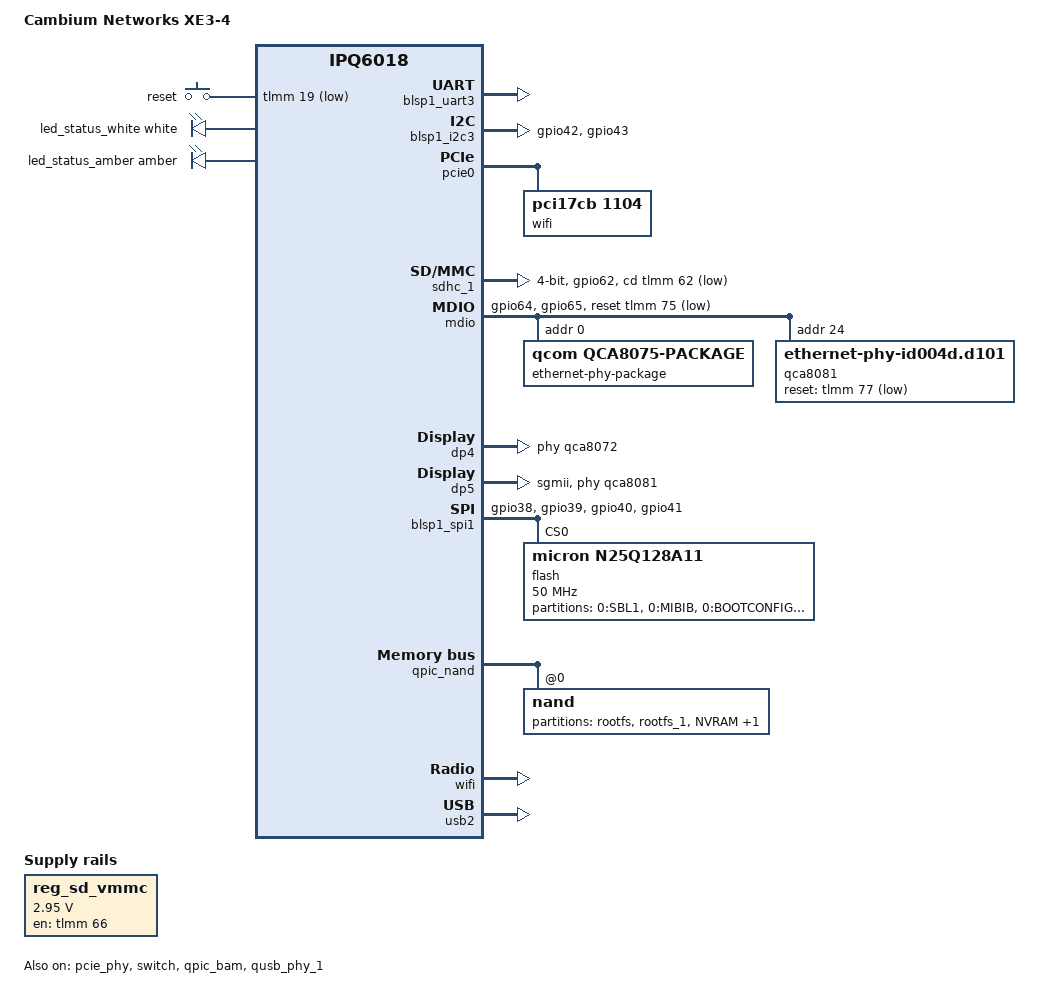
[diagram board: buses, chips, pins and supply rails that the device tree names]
// SPDX-License-Identifier: (GPL-2.0+)

/dts-v1/;

#include "ipq6018.dtsi"
#include "ipq6018-fixed-smps.dtsi"
#include "ipq6018-ess.dtsi"
#include <dt-bindings/gpio/gpio.h>
#include <dt-bindings/input/input.h>
#include <dt-bindings/leds/common.h>

/ {
	/* Qualcomm Technologies, Inc. IPQ6018/AP-CP01-C3 */
	model = "Cambium Networks XE3-4";
	compatible = "cambiumnetworks,xe3-4", "qcom,ipq6018-cp01", "qcom,ipq6018";

	aliases {
		serial0 = &blsp1_uart3;
		sdhc2 = &sdhc_1;
		ethernet0 = &dp5;
		ethernet1 = &dp4;
		label-mac-device = &dp5;

		led-boot = &led_status_amber;
		led-failsafe = &led_status_amber;
		led-running = &led_status_white;
		led-upgrade = &led_status_amber;
	};

	chosen {
		stdout-path = "serial0:115200n8";
		bootargs-append = " root=/dev/ubiblock0_1";
	};

	keys {
		compatible = "gpio-keys";

		reset {
			label = "reset";
			gpios = <&tlmm 19 GPIO_ACTIVE_LOW>;
			linux,code = <KEY_RESTART>;
		};
	};

	leds {
		compatible = "gpio-leds";
		pinctrl-0 = <&led_pins>;
		pinctrl-names = "default";

		led_status_white: status-white {
			color = <LED_COLOR_ID_WHITE>;
			function = LED_FUNCTION_STATUS;
			gpio = <&tlmm 56 GPIO_ACTIVE_LOW>;
		};

		led_status_amber: status-amber {
			color = <LED_COLOR_ID_AMBER>;
			function = LED_FUNCTION_STATUS;
			gpio = <&tlmm 35 GPIO_ACTIVE_LOW>;
		};
	};

	reg_sd_vmmc: regulator-sdcard-vmmc {
		compatible = "regulator-fixed";
		regulator-name = "sdcard-vmmc";
		regulator-min-microvolt = <2950000>;
		regulator-max-microvolt = <2950000>;

		startup-delay-us = <200>;

		gpio = <&tlmm 66 GPIO_ACTIVE_HIGH>;
		enable-active-high;

		pinctrl-names = "default";
		pinctrl-0 = <&sd_vmmc_en_default>;
	};
};

&blsp1_uart3 {
	pinctrl-0 = <&serial_3_pins>;
	pinctrl-names = "default";
	status = "okay";
};

&blsp1_i2c3 {
	pinctrl-0 = <&i2c_1_pins>;
	pinctrl-names = "default";
	status = "okay";
};

&tlmm {
	/* TZ has exclusive control over GPIO20 */
	gpio-reserved-ranges = <20 1>;

	mdio_pins: mdio-pins {
		mdc {
			pins = "gpio64";
			function = "mdc";
			drive-strength = <8>;
			bias-pull-up;
		};

		mdio {
			pins = "gpio65";
			function = "mdio";
			drive-strength = <8>;
			bias-pull-up;
		};
	};

	i2c_1_pins: i2c-1-state {
		pins = "gpio42", "gpio43";
		function = "blsp2_i2c";
		drive-strength = <8>;
	};

	spi_0_pins: spi-0-state {
		pins = "gpio38", "gpio39", "gpio40", "gpio41";
		function = "blsp0_spi";
		drive-strength = <8>;
		bias-pull-down;
	};

	led_pins: led_pins {
		leds {
			pins = "gpio35", "gpio37", "gpio50";
			function = "gpio";
			drive-strength = <8>;
			bias-pull-down;
		};
	};

	sd_vmmc_en_default: sd-vmmc-en-default-state {
		pins = "gpio66";
		function = "gpio";
		drive-strength = <8>;
		bias-pull-down;
	};

	sd_pins: sd-state {
		pins = "gpio62";
		function = "gpio";
		drive-strength = <8>;
		bias-pull-up;
	};
};

&pcie_phy {
	status = "okay";
};

&pcie0 {
	status = "okay";
	perst-gpio = <&tlmm 60 GPIO_ACTIVE_LOW>;

	bridge@0,0 {
		reg = <0x00000000 0 0 0 0>;
		#address-cells = <3>;
		#size-cells = <2>;
		ranges;

		wifi@1,0 {
			status = "okay";

			/* ath11k has no DT compatible for PCI cards */
			compatible = "pci17cb,1104";
			reg = <0x00010000 0 0 0 0>;

			qcom,ath11k-fw-memory-mode = <0>;
			qcom,ath11k-calibration-variant = "CambiumNetworks-XE34";
		};
	};
};

&sdhc_1 {
	pinctrl-0 = <&sd_pins>;
	pinctrl-names = "default";
	status = "okay";

	cd-gpios = <&tlmm 62 GPIO_ACTIVE_LOW>;
	vqmmc-supply = <&reg_sd_vmmc>;
	bus-width = <4>;
};

&edma {
	status = "okay";
};

&switch {
	status = "okay";

	switch_lan_bmp = <(ESS_PORT4 | ESS_PORT5)>;
	switch_mac_mode = <MAC_MODE_PSGMII>;
	switch_mac_mode2 = <MAC_MODE_SGMII_PLUS>;

	qcom,port_phyinfo {
		port@4 {
			port_id = <4>;
			phy_address = <3>;
		};

		port@5 {
			port_id = <5>;
			phy_address = <24>;
			port_mac_sel = "QGMAC_PORT";
		};
	};
};

&mdio {
	status = "okay";
	pinctrl-0 = <&mdio_pins>;
	pinctrl-names = "default";
	reset-gpios = <&tlmm 75 GPIO_ACTIVE_LOW>;
	reset-delay-us = <10000>;
	reset-post-delay-us = <50000>;

	ethernet-phy-package@0 {
		#address-cells = <1>;
		#size-cells = <0>;
		compatible = "qcom,qca8075-package";
		reg = <0>;

		qcom,package-mode = "psgmii";

		qca8072: ethernet-phy@3 {
			compatible = "ethernet-phy-ieee802.3-c22";
			reg = <3>;
		};
	};

	qca8081: ethernet-phy@24 {
		compatible = "ethernet-phy-id004d.d101";
		reg = <24>;
		reset-gpios = <&tlmm 77 GPIO_ACTIVE_LOW>;
		reset-assert-us = <10000>;
		reset-deassert-us = <50000>;
	};
};

&dp4 {
	status = "okay";

	phy-handle = <&qca8072>;
	nvmem-cell-names = "mac-address";
	nvmem-cells = <&eth1addr 0>;
	label = "lan2";
};

&dp5 {
	status = "okay";

	phy-mode = "sgmii";
	phy-handle = <&qca8081>;
	nvmem-cell-names = "mac-address";
	nvmem-cells = <&ethaddr 0>;
	label = "lan1";
};

&blsp1_spi1 {
	pinctrl-0 = <&spi_0_pins>;
	pinctrl-names = "default";
	status = "okay";

	flash@0 {
		#address-cells = <1>;
		#size-cells = <1>;
		reg = <0>;
		/*
		 * U-boot looks for "n25q128a11" node,
		 * if we don't have it, it will spit out the following warning:
		 * "ipq: fdt fixup unable to find compatible node".
		 */
		linux,modalias = "m25p80", "mx30uf2g18ac", "n25q128a11";
		compatible = "micron,n25q128a11", "jedec,spi-nor";
		spi-max-frequency = <50000000>;

		partitions {
			compatible = "fixed-partitions";
			#address-cells = <1>;
			#size-cells = <1>;

			partition@0 {
				label = "0:SBL1";
				reg = <0x0 0xc0000>;
				read-only;
			};

			partition@c0000 {
				label = "0:MIBIB";
				reg = <0xc0000 0x10000>;
				read-only;
			};

			partition@d0000 {
				label = "0:BOOTCONFIG";
				reg = <0xd0000 0x20000>;
				read-only;
			};

			partition@f0000 {
				label = "0:BOOTCONFIG1";
				reg = <0xf0000 0x20000>;
				read-only;
			};

			partition@110000 {
				label = "0:QSEE";
				reg = <0x110000 0x1a0000>;
				read-only;
			};

			partition@2b0000 {
				label = "0:QSEE_1";
				reg = <0x2b0000 0x1a0000>;
				read-only;
			};

			partition@450000 {
				label = "0:DEVCFG";
				reg = <0x450000 0x10000>;
				read-only;
			};

			partition@460000 {
				label = "mfginfo";
				reg = <0x460000 0x10000>;
				read-only;
			};

			partition@470000 {
				label = "0:RPM";
				reg = <0x470000 0x40000>;
				read-only;
			};

			partition@4b0000 {
				label = "0:RPM_1";
				reg = <0x4b0000 0x40000>;
				read-only;
			};

			partition@4f0000 {
				label = "0:CDT";
				reg = <0x4f0000 0x10000>;
				read-only;
			};

			partition@500000 {
				label = "0:CDT_1";
				reg = <0x500000 0x10000>;
				read-only;
			};

			partition@510000 {
				compatible = "u-boot,env";
				label = "0:APPSBLENV";
				reg = <0x510000 0x10000>;

				ethaddr: ethaddr {
					#nvmem-cell-cells = <0>;
				};

				eth1addr: eth1addr {
					#nvmem-cell-cells = <0>;
				};

				eth2addr: eth2addr {
					#nvmem-cell-cells = <0>;
				};

				eth5addr: eth5addr {
					#nvmem-cell-cells = <0>;
				};
			};

			partition@520000 {
				label = "0:APPSBL";
				reg = <0x520000 0xa0000>;
				read-only;
			};

			partition@5c0000 {
				label = "0:APPSBL_1";
				reg = <0x5c0000 0xa0000>;
				read-only;
			};

			partition@660000 {
				label = "0:ART";
				reg = <0x660000 0x80000>;
				read-only;
			};
		};
	};
};

&qpic_bam {
	status = "okay";
};

&qpic_nand {
	status = "okay";

	nand@0 {
		reg = <0>;

		nand-ecc-strength = <4>;
		nand-ecc-step-size = <512>;
		nand-bus-width = <8>;

		partitions {
			compatible = "fixed-partitions";
			#address-cells = <1>;
			#size-cells = <1>;

			partition@0 {
				label = "rootfs";
				reg = <0x0 0x6000000>;
			};

			partition@6000000 {
				label = "rootfs_1";
				reg = <0x6000000 0x6000000>;
			};

			partition@c000000 {
				label = "NVRAM";
				reg = <0xc000000 0x3000000>;
			};

			partition@f000000 {
				label = "crashLog";
				reg = <0xf000000 0x1000000>;
			};
		};
	};
};

&wifi {
	status = "okay";
	qcom,ath11k-calibration-variant = "CambiumNetworks-XE34";

	nvmem-cell-names = "mac-address";
	nvmem-cells = <&eth2addr>;
};

&qusb_phy_1 {
	status = "okay";
};

&usb2 {
	status = "okay";
};
